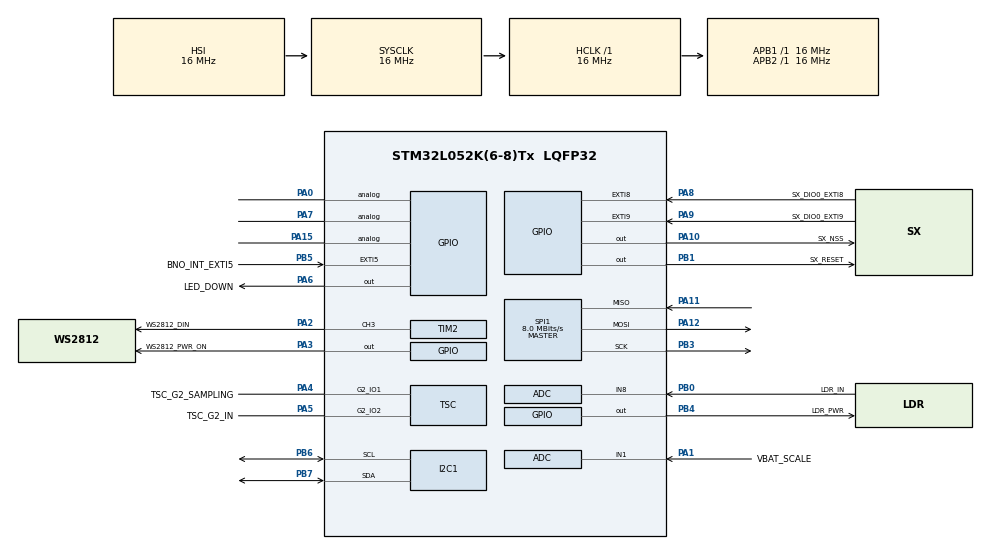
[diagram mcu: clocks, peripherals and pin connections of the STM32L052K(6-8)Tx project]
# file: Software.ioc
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ADC.Overrun=ADC_OVR_DATA_OVERWRITTEN
ADC.Resolution=ADC_RESOLUTION_10B
ADC.SamplingTime=ADC_SAMPLETIME_7CYCLES_5
Dma.Request0=TIM2_CH3
Dma.TIM2_CH3.0.Direction=DMA_MEMORY_TO_PERIPH
Dma.TIM2_CH3.0.Instance=DMA1_Channel1
Dma.TIM2_CH3.0.MemDataAlignment=DMA_MDATAALIGN_BYTE
Dma.TIM2_CH3.0.MemInc=DMA_MINC_ENABLE
Dma.TIM2_CH3.0.Mode=DMA_NORMAL
Dma.TIM2_CH3.0.PeriphDataAlignment=DMA_PDATAALIGN_HALFWORD
Dma.TIM2_CH3.0.PeriphInc=DMA_PINC_DISABLE
Dma.TIM2_CH3.0.Priority=DMA_PRIORITY_LOW
I2C1.Timing=0x00303D5B
LPTIM1.ClockPrescaler=LPTIM_PRESCALER_DIV128
Mcu.Family=STM32L0
Mcu.Name=STM32L052K(6-8)Tx
Mcu.Package=LQFP32
NVIC.DMA1_Channel1_IRQn=true\:0\:0\:false\:false\:true\:false\:true
NVIC.EXTI4_15_IRQn=true\:0\:0\:false\:false\:true\:true\:true
NVIC.LPTIM1_IRQn=true\:0\:0\:false\:false\:true\:true\:true
PA0.Signal=GPIO_Analog
PA1.GPIO_Label=VBAT_SCALE
PA1.Signal=SharedAnalog_PA1
PA10.GPIO_Label=SX_NSS
PA10.Signal=GPIO_Output
PA11.Mode=Full_Duplex_Master
PA11.Signal=SPI1_MISO
PA12.Mode=Full_Duplex_Master
PA12.Signal=SPI1_MOSI
PA13.Mode=Serial_Wire
PA13.Signal=SYS_SWDIO
PA14.Mode=Serial_Wire
PA14.Signal=SYS_SWCLK
PA15.Signal=GPIO_Analog
PA2.GPIO_Label=WS2812_DIN
PA2.GPIO_PuPd=GPIO_NOPULL
PA2.Signal=S_TIM2_CH3
PA3.GPIO_Label=WS2812_PWR_ON
PA3.Signal=GPIO_Output
PA4.GPIO_Label=TSC_G2_SAMPLING
PA4.Mode=G2_IO1-Sampling
PA4.Signal=TSC_G2_IO1
PA5.GPIO_Label=TSC_G2_IN
PA5.Mode=G2_IO2-Channel
PA5.Signal=TSC_G2_IO2
PA6.GPIO_Label=LED_DOWN
PA6.Signal=GPIO_Output
PA7.Signal=GPIO_Analog
PA8.GPIO_Label=SX_DIO0_EXTI8
PA8.Signal=GPXTI8
PA9.GPIO_Label=SX_DIO0_EXTI9
PA9.Signal=GPXTI9
PB0.GPIO_Label=LDR_IN
PB0.Signal=SharedAnalog_PB0
PB1.GPIO_Label=SX_RESET
PB1.Signal=GPIO_Output
PB3.Mode=Full_Duplex_Master
PB3.Signal=SPI1_SCK
PB4.GPIO_Label=LDR_PWR
PB4.Signal=GPIO_Output
PB5.GPIO_Label=BNO_INT_EXTI5
PB5.Signal=GPXTI5
PB6.Mode=I2C
PB6.Signal=I2C1_SCL
PB7.Mode=I2C
PB7.Signal=I2C1_SDA
ProjectManager.HeapSize=0x200
ProjectManager.StackSize=0x400
ProjectManager.TargetToolchain=Makefile
RCC.AHBFreq_Value=16000000
RCC.APB1Freq_Value=16000000
RCC.APB1TimFreq_Value=16000000
RCC.APB2Freq_Value=16000000
RCC.APB2TimFreq_Value=16000000
RCC.HCLKFreq_Value=16000000
RCC.HSI16_VALUE=16000000
RCC.HSI48_VALUE=48000000
RCC.HSI_VALUE=16000000
RCC.LSE_VALUE=32768
RCC.LptimClockSelection=RCC_LPTIM1CLKSOURCE_LSI
RCC.MSI_VALUE=2097000
RCC.RTCClockSelection=RCC_RTCCLKSOURCE_LSI
RCC.RTCClockSelectionVirtual=RCC_RTCCLKSOURCE_LSE
RCC.SYSCLKFreq_VALUE=16000000
RCC.SYSCLKSource=RCC_SYSCLKSOURCE_HSI
RCC.VCOOutputFreq_Value=48000000
SH.S_TIM2_CH3.0=TIM2_CH3,PWM Generation3 CH3
SH.SharedAnalog_PA1.0=GPIO_Analog
SH.SharedAnalog_PA1.1=ADC_IN1,IN1
SH.SharedAnalog_PB0.0=GPIO_Analog
SH.SharedAnalog_PB0.1=ADC_IN8,IN8
SPI1.CalculateBaudRate=8.0 MBits/s
SPI1.Direction=SPI_DIRECTION_2LINES
SPI1.Mode=SPI_MODE_MASTER
SPI1.VirtualType=VM_MASTER
TIM2.Channel-PWM\ Generation3\ CH3=TIM_CHANNEL_3
TIM2.Period=19
TIM2.Prescaler=0
TOUCHSENSING.IO_TOUCHKEY_B1=G2_IO2
TOUCHSENSING.TSLPRM_SENSORS_DATAS=TSLPRM_TOTAL_TOUCHKEYS_B 1 1 
TOUCHSENSING.TSLPRM_TOTAL_TOUCHKEYS_B=1
TSC.ChannelIOs-G2_IO2=TSC_GROUP2_IO2
TSC.SamplingIOs-G2_IO1=TSC_GROUP2_IO1
VP_LPTIM1_VS_LPTIM_counterModeInternalClock.Mode=Counts__internal_clock_event_00
VP_TIM2_VS_ClockSourceINT.Mode=Internal
VP_TOUCHSENSING_VS_TOUCHSENSING.Mode=TouchSensing_Enabled
board=custom

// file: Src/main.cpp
/* USER CODE BEGIN Header */
/**
 ******************************************************************************
 * @file           : main.c
 * @brief          : Main program body
 ******************************************************************************
 * @attention
 *
 * <h2><center>&copy; Copyright (c) 2019 STMicroelectronics.
 * All rights reserved.</center></h2>
 *
 * This software component is licensed by ST under BSD 3-Clause license,
 * the "License"; You may not use this file except in compliance with the
 * License. You may obtain a copy of the License at:
 *                        opensource.org/licenses/BSD-3-Clause
 *
 ******************************************************************************
 */
/* USER CODE END Header */

#include "main.h"
#include "adc.h"
#include "dma.h"
#include "i2c.h"
#include "lptim.h"
#include "spi.h"
#include "tim.h"
#include "touchsensing.h"
#include "tsc.h"
#include "gpio.h"

/* USER CODE BEGIN Includes */
#include "WS2812B.h"
#include "bno055.h"
#include "bno055_stm32.h"
#include "string.h"

/* USER CODE END Includes */

/* USER CODE BEGIN PV */
const uint32_t eeprom_base_address = 0x08080000;
const uint8_t linacc_filter_weight = 10;
volatile StatesEnum state = off;
volatile bool bno_int_triggered = false;
volatile bool lptim_triggered = false;
/* USER CODE END PV */

void SystemClock_Config(void);
/* USER CODE BEGIN PFP */
void HAL_LPTIM_AutoReloadMatchCallback(LPTIM_HandleTypeDef *hlptim);
/* USER CODE END PFP */

int main(void)
{
  /* USER CODE BEGIN 1 */
	tsl_user_status_t tsl_status;
	uint8_t button_state = 0;
	float linacc_avg = 0;
	float linacc_long_term = 0;
	float linacc_decision = 0;
	volatile uint16_t ldr_value;
	uint8_t byte;

	// WS2812
	s_color led_color_green = { 0x0F, 0x00, 0x00 };
	s_color led_color_red = { 0x00, 0x0F, 0x00 };
	s_color led_color_red_brake = { 0x0F, 0x0F, 0x00 };
	s_color led_color_blue = { 0x00, 0x00, 0x0F};
	s_color led_color_off = { 0x00, 0x00, 0x00 };
	WS2812B leds(15);

  /* USER CODE END 1 */

  /* MCU Configuration--------------------------------------------------------*/

  /* Reset of all peripherals, Initializes the Flash interface and the Systick. */
  HAL_Init();

  /* Configure the system clock */
  SystemClock_Config();

  /* Initialize all configured peripherals */
  MX_GPIO_Init();
  MX_DMA_Init();
  MX_ADC_Init();
  MX_I2C1_Init();
  MX_LPTIM1_Init();
  MX_SPI1_Init();
  MX_TIM2_Init();
  MX_TSC_Init();
  MX_TOUCHSENSING_Init();
  /* USER CODE BEGIN 2 */
	// ADC Calibration
	if (HAL_ADCEx_Calibration_Start(&hadc, ADC_SINGLE_ENDED) != HAL_OK) {
        Error_Handler();
	}

	// Power WS2812
	HAL_GPIO_WritePin(WS2812_PWR_ON_GPIO_Port, WS2812_PWR_ON_Pin, GPIO_PIN_SET);
	// Switch ON red LED
	HAL_GPIO_WritePin(LED_DOWN_GPIO_Port, LED_DOWN_Pin, GPIO_PIN_SET);
	// POWER LDR
	HAL_GPIO_WritePin(LDR_PWR_GPIO_Port, LDR_PWR_Pin, GPIO_PIN_SET);

	bno_init();
	bno055_setOperationMode(BNO055_OPERATION_MODE_NDOF);

	volatile uint8_t bno_int_statu = 0;
	while(1) {
		if (bno_int_triggered == true) {
			bno_int_triggered = false;
			bno_int_statu = bno055_getInterruptStatus();
		if (bno_int_statu > 0) {
		// if (bno_int_statu == 0) {
			if ((bno_int_statu & BNO055_INT_STATUS_ACC_NM) == BNO055_INT_STATUS_ACC_NM) {
			// if (bno_int_statu == 0) {
					bno055_setPowerMode(BNO055_POWER_MODE_SUSPEND);
				HAL_GPIO_WritePin(LED_DOWN_GPIO_Port, LED_DOWN_Pin, GPIO_PIN_RESET);
				HAL_GPIO_WritePin(WS2812_PWR_ON_GPIO_Port, WS2812_PWR_ON_Pin, GPIO_PIN_RESET);
			  		HAL_LPTIM_Counter_Start_IT(&hlptim1, 2890);
					enter_stop_mode();
					HAL_GPIO_WritePin(LED_DOWN_GPIO_Port, LED_DOWN_Pin, GPIO_PIN_SET);
					bno_int_statu = 0; // Debug only
				} else {
					// HAL_GPIO_WritePin(LED_DOWN_GPIO_Port, LED_DOWN_Pin, GPIO_PIN_SET);
	}
				// bno_int_statu += 1;
			}
		} else if (lptim_triggered == true) {
			lptim_triggered = false;
			HAL_GPIO_TogglePin(LED_DOWN_GPIO_Port, LED_DOWN_Pin);
			enter_stop_mode();
		}
		HAL_Delay(50);
	}

  /* USER CODE END 2 */

  /* Infinite loop */
	while (1) {

    /* USER CODE BEGIN 3 */
		/* Execute STMTouch Driver state machine */
		/*
		 * tsl_status = tsl_user_Exec();
		 if (tsl_status != TSL_USER_STATUS_BUSY) {
		 switch (TSL_tkey_GetStateId()) {
		 case TSL_STATEID_DETECT:
		 leds.setColorAll(led_color_green);
		 HAL_GPIO_WritePin(LED_DOWN_GPIO_Port, LED_DOWN_Pin, GPIO_PIN_SET);
		 break;
		 case TSL_STATEID_PROX:
		 leds.setColorAll(led_color_blue);
		 HAL_GPIO_WritePin(LED_DOWN_GPIO_Port, LED_DOWN_Pin, GPIO_PIN_RESET);
		 break;
		 default:
		 leds.setColorAll(led_color_red);
		 }
		 leds.update();
		 }
		 */
		volatile uint8_t bno_int_status = 0;
		bno_int_status = bno055_getInterruptStatus();
		if (bno_int_status > 0) {
			bno_int_status += 1;
		}

		ldr_value = get_ldr_value();

		uint8_t bno_error = bno055_getSystemError();

		bno055_vector_t linacc = bno055_getVectorLinearAccel();
		linacc_avg = ((linacc_avg * linacc_filter_weight) + linacc.z)
				/ (linacc_filter_weight + 1);
		linacc_long_term = linacc_long_term * 0.99 + linacc_avg * 0.01;
		linacc_decision = linacc_avg - linacc_long_term;

		// TODO: Should not update every loop to decrease battery consumption
		if ((ldr_value < 150) && (state == off)) {
			leds.setColorAll(led_color_red);
			leds.update();
		} else if ((ldr_value >= 150) && (state == off)) {
			leds.setColorAll(led_color_off);
			leds.update();
		}
		  if ((linacc_decision > 0.2) && (state == off)) {
			  // Start timer and switch on the LEDs
			  leds.setColorAll(led_color_off);
			  uint8_t leds_on = ((uint8_t)(linacc_avg * 8)+2) % 16;
			  leds.setColorRange(0, leds_on, led_color_red);
			  leds.update();
			  state = braking;
			  // Reload timing is 0.5 sec
			  // TODO: Should stop counter !
			  HAL_LPTIM_Counter_Start_IT(&hlptim1, 144);
		  }
		  if ((linacc_decision > 0.3) && (state == braking)) {
			  // Reset timer breaking is still detected
			  __HAL_TIM_SET_COUNTER(&hlptim1, 0);
		  }

		  if (state == braking_timeout) {
			  // LED switching off id done regarding LDR
			  state = off;
		  }
		  HAL_Delay(10);

	}
  /* USER CODE END 3 */
}

void SystemClock_Config(void)
{
  RCC_OscInitTypeDef RCC_OscInitStruct = {0};
  RCC_ClkInitTypeDef RCC_ClkInitStruct = {0};
  RCC_PeriphCLKInitTypeDef PeriphClkInit = {0};

  /** Configure the main internal regulator output voltage
  */
  __HAL_PWR_VOLTAGESCALING_CONFIG(PWR_REGULATOR_VOLTAGE_SCALE1);
  /** Initializes the CPU, AHB and APB busses clocks
  */
  RCC_OscInitStruct.OscillatorType = RCC_OSCILLATORTYPE_HSI|RCC_OSCILLATORTYPE_LSI;
  RCC_OscInitStruct.HSIState = RCC_HSI_ON;
  RCC_OscInitStruct.HSICalibrationValue = RCC_HSICALIBRATION_DEFAULT;
  RCC_OscInitStruct.LSIState = RCC_LSI_ON;
  RCC_OscInitStruct.PLL.PLLState = RCC_PLL_NONE;
  if (HAL_RCC_OscConfig(&RCC_OscInitStruct) != HAL_OK)
  {
    Error_Handler();
  }
  /** Initializes the CPU, AHB and APB busses clocks
  */
  RCC_ClkInitStruct.ClockType = RCC_CLOCKTYPE_HCLK|RCC_CLOCKTYPE_SYSCLK
                              |RCC_CLOCKTYPE_PCLK1|RCC_CLOCKTYPE_PCLK2;
  RCC_ClkInitStruct.SYSCLKSource = RCC_SYSCLKSOURCE_HSI;
  RCC_ClkInitStruct.AHBCLKDivider = RCC_SYSCLK_DIV1;
  RCC_ClkInitStruct.APB1CLKDivider = RCC_HCLK_DIV1;
  RCC_ClkInitStruct.APB2CLKDivider = RCC_HCLK_DIV1;

  if (HAL_RCC_ClockConfig(&RCC_ClkInitStruct, FLASH_LATENCY_0) != HAL_OK)
  {
    Error_Handler();
  }
  PeriphClkInit.PeriphClockSelection = RCC_PERIPHCLK_I2C1|RCC_PERIPHCLK_LPTIM1;
  PeriphClkInit.I2c1ClockSelection = RCC_I2C1CLKSOURCE_PCLK1;
  PeriphClkInit.LptimClockSelection = RCC_LPTIM1CLKSOURCE_LSI;

  if (HAL_RCCEx_PeriphCLKConfig(&PeriphClkInit) != HAL_OK)
  {
    Error_Handler();
  }
}

/* USER CODE BEGIN 4 */
void bno_init() {
// BNO055 init
	bno055_assignI2C(&hi2c1);
	bno055_setup();
	// BNO055 Calibration
    bno055_setCalibrationData(eeprom_read_bno_calibration_data());
    bno055_setOperationMode(BNO055_OPERATION_MODE_NDOF);
	bno055_calibration_state_t bno_calib_state = {.sys = 0, .gyro = 0, .mag = 0, .accel = 0};
	while ((bno_calib_state.sys != 3) || (bno_calib_state.mag != 3) ||  (bno_calib_state.gyro != 3) || (bno_calib_state.accel != 3)) {
		bno_calib_state = bno055_getCalibrationState();
		HAL_Delay(1000);
	}
	HAL_GPIO_WritePin(LED_DOWN_GPIO_Port, LED_DOWN_Pin, GPIO_PIN_RESET);
	bno055_calibration_data_t bno_calib_data = bno055_getCalibrationData();
	eeprom_write_bno_calibration_data(bno_calib_data);

	// Enable only accelerometer interrupt and redirect it to interrupt pin. Cleat INT flags
	// TODO - Why it can not be set before calibration procedure ?
	bno055_setOperationMode(BNO055_OPERATION_MODE_CONFIG);
	bno055_setInterruptMask(BNO055_INT_MSK_ACC_NM | BNO055_INT_MSK_ACC_AM);
	bno055_getInterruptStatus();
	bno055_setInterruptEnable(BNO055_INT_EN_ACC_NM | BNO055_INT_EN_ACC_AM);
	// bno055_setInterruptAccelThresholds(0.1, 0, 1);
	// bno055_setInterruptNoOrSlowMotion(1, 1);
	bno055_setInterruptAccelSettings(
		BNO055_ACC_INT_AM_NM_Z_AXIS |
		BNO055_ACC_INT_AM_NM_Y_AXIS |
		BNO055_ACC_INT_AM_NM_X_AXIS
	);
	// TODO - Why calibration has to be written again ?
    bno055_setCalibrationData(bno_calib_data);
}

void HAL_LPTIM_AutoReloadMatchCallback(LPTIM_HandleTypeDef *hlptim) {
	switch (state) {
		case braking:
			state = braking_timeout;
		case off:
			lptim_triggered = true;
	}
}

bno055_calibration_data_t eeprom_read_bno_calibration_data() {
	bno055_calibration_data_t data;
	for (uint8_t i = 0; i < 5; i++) {
		memcpy(((uint32_t*) &data) + i, ((uint32_t *) eeprom_base_address) + i, 4);
	}
	memcpy(((uint32_t*) &data) + 5, ((uint32_t *) eeprom_base_address) + 5, 2);
	return data;
}

void eeprom_write_bno_calibration_data(bno055_calibration_data_t data) {
	uint32_t buffer_32; // TODO - Required ? https://community.st.com/s/question/0D50X00009XkhJbSAJ/hard-fault-writing-flash last post
	uint16_t buffer_16; // TODO - Required ? Can be replaced by buffer_32 depending of endianness
	if (HAL_FLASHEx_DATAEEPROM_Unlock() != HAL_OK) {
		Error_Handler();
	}
	for (uint8_t i = 0; i < 5; i++) {
		memcpy(&buffer_32, ((uint32_t *) &data) + i, 4);
		if (HAL_FLASHEx_DATAEEPROM_Program(FLASH_TYPEPROGRAMDATA_WORD, eeprom_base_address+ i*4, buffer_32) != HAL_OK) {
			Error_Handler();
		}
	}
	memcpy(&buffer_16, (uint32_t *) &data + 5, 2);
	HAL_FLASHEx_DATAEEPROM_Program(FLASH_TYPEPROGRAMDATA_HALFWORD, eeprom_base_address + 20, buffer_16);
	HAL_FLASHEx_DATAEEPROM_Lock();
}

void enter_stop_mode() {
	GPIO_InitTypeDef GPIO_InitStruct = {0};

	HAL_GPIO_WritePin(LDR_PWR_GPIO_Port, LDR_PWR_Pin, GPIO_PIN_RESET);
	HAL_GPIO_WritePin(GPIOB, GPIO_PIN_6, GPIO_PIN_SET); // I2C
	HAL_GPIO_WritePin(GPIOB, GPIO_PIN_7, GPIO_PIN_SET); // I2C
	HAL_ADCEx_DisableVREFINT();
	HAL_ADC_DeInit(&hadc);
	HAL_I2C_DeInit(&hi2c1);
	HAL_SPI_DeInit(&hspi1);
	HAL_TSC_DeInit(&htsc);
	HAL_TIM_Base_DeInit(&htim2);
	GPIO_InitStruct.Pin = 0xFFFFU;
	GPIO_InitStruct.Mode = GPIO_MODE_ANALOG;
	GPIO_InitStruct.Pull = GPIO_NOPULL;
	// HAL_GPIO_Init(GPIOA, &GPIO_InitStruct);
	GPIO_InitStruct.Pin = 0xDBU;
	// HAL_GPIO_Init(GPIOB, &GPIO_InitStruct);
	// __HAL_RCC_GPIOA_CLK_DISABLE();
	__HAL_PWR_CLEAR_FLAG(PWR_FLAG_WU);
	HAL_SuspendTick();
	HAL_PWR_EnterSTOPMode(PWR_LOWPOWERREGULATOR_ON, PWR_STOPENTRY_WFI);
	HAL_ResumeTick();
	MX_GPIO_Init();
	MX_I2C1_Init();
}

uint16_t get_ldr_value(void) {
	uint16_t value;

	ADC_ChannelConfTypeDef sConfig;

	sConfig.Channel = ADC_CHANNEL_8;

	if (HAL_ADC_ConfigChannel(&hadc, &sConfig) != HAL_OK) {
		Error_Handler();
	}

	if (HAL_ADC_Start(&hadc) != HAL_OK) {
		Error_Handler();
	}

	// TODO: More accurate timeout
	if (HAL_ADC_PollForConversion(&hadc, 100) != HAL_OK) {
		Error_Handler();
	}
	while ((HAL_ADC_GetState(&hadc) & HAL_ADC_STATE_REG_EOC) != HAL_ADC_STATE_REG_EOC) {}
	value = HAL_ADC_GetValue(&hadc);

	if (HAL_ADC_Stop(&hadc) != HAL_OK) {
		Error_Handler();
	}

	return value;
}

void HAL_GPIO_EXTI_Callback(uint16_t GPIO_Pin) {
	if (GPIO_Pin == BNO_INT_EXTI5_Pin) {
		bno_int_triggered = true;
    }
}
/* USER CODE END 4 */

void Error_Handler(void)
{
  /* USER CODE BEGIN Error_Handler_Debug */
	/* User can add his own implementation to report the HAL error return state */
	while(1);
  /* USER CODE END Error_Handler_Debug */
}

/************************ (C) COPYRIGHT STMicroelectronics *****END OF FILE****/
